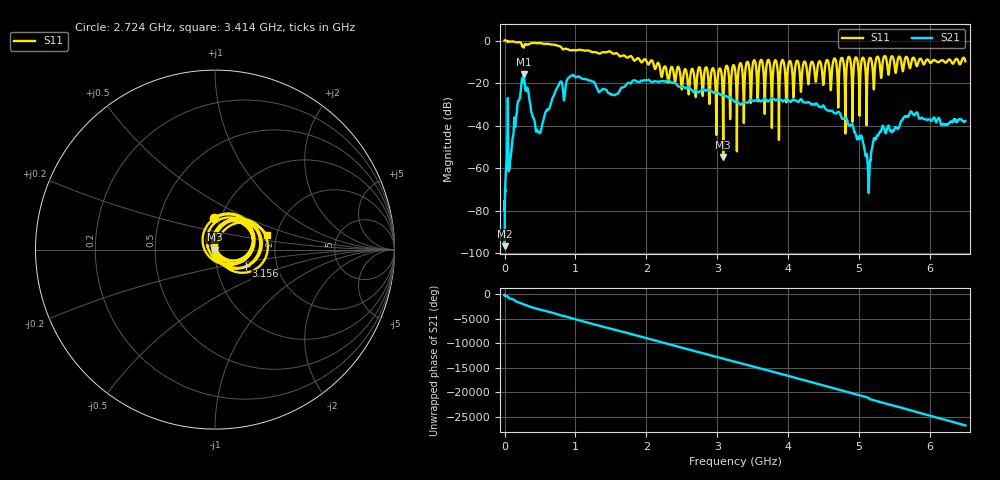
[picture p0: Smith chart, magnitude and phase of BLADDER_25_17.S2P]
!Keysight Technologies,E5063A,MY54503115,A.05.08
!Date: Sun Feb 04 18:45:52 2024
!Data & Calibration Information:
!Freq	S11:NONE(--)	S21:NONE(--)	S12:NONE(--)	S22:NONE(--)
# Hz S dB R 50
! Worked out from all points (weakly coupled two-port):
!   10001 points, 100 kHz to 6.5 GHz, reference 50 ohm
!   highest |S21| = -15.66 dB at 269.8 MHz (marker M1); lowest = -96.6 dB at 750 kHz (marker M2)
!   lowest |S11| = -54.7 dB at 3.084 GHz (marker M3), VSWR 1.00, Z = 49.8 + j0.0459 ohm
!   |S11| at or under -10 dB: 2.091 GHz to 3.421 GHz (1.331 GHz wide, 48.3 % of centre); 4.239 GHz to 4.331 GHz (91.62 MHz wide, 2.14 % of centre); 4.341 GHz to 4.433 GHz (92.22 MHz wide, 2.1 % of centre) (the widest 3 of 33)
!   S12 and S22 are empty: the file has one direction only
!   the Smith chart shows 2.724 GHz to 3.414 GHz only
!   S11 on the Smith chart (normalised r, x): 2.724 GHz: 0.93, +0.34; 3.156 GHz: 1.39, -0.27; 3.414 GHz: 1.78, +0.32
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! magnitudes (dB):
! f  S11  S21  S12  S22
! 100 kHz  0.0  -92.4  -  -
! 750 kHz  0.0  -96.6  -  -
! 39.1 MHz  -0.2  -45.8  -  -
! 269.8 MHz  -3.3  -15.7  -  -
! 475.2 MHz  -1.2  -42.7  -  -
! 772.9 MHz  -2.6  -20.1  -  -
! 1.084 GHz  -4.5  -17.7  -  -
! 1.53 GHz  -6.2  -25.4  -  -
! 2.167 GHz  -10.5  -19.4  -  -
! 2.724 GHz  -15.0  -24.4  -  -
! 3.084 GHz  -54.7  -25.5  -  -
! 3.156 GHz  -14.1  -26.8  -  -
! 3.25 GHz  -13.6  -28.8  -  -
! 3.414 GHz  -10.5  -29.1  -  -
! 4.334 GHz  -9.9  -30.0  -  -
! 4.812 GHz  -22.0  -36.3  -  -
! 4.856 GHz  -7.6  -39.9  -  -
! 5.132 GHz  -10.3  -67.0  -  -
! 5.229 GHz  -11.4  -46.3  -  -
! 5.417 GHz  -15.9  -39.9  -  -
! 5.735 GHz  -10.7  -33.2  -  -
! 6.5 GHz  -9.8  -37.7  -  -
